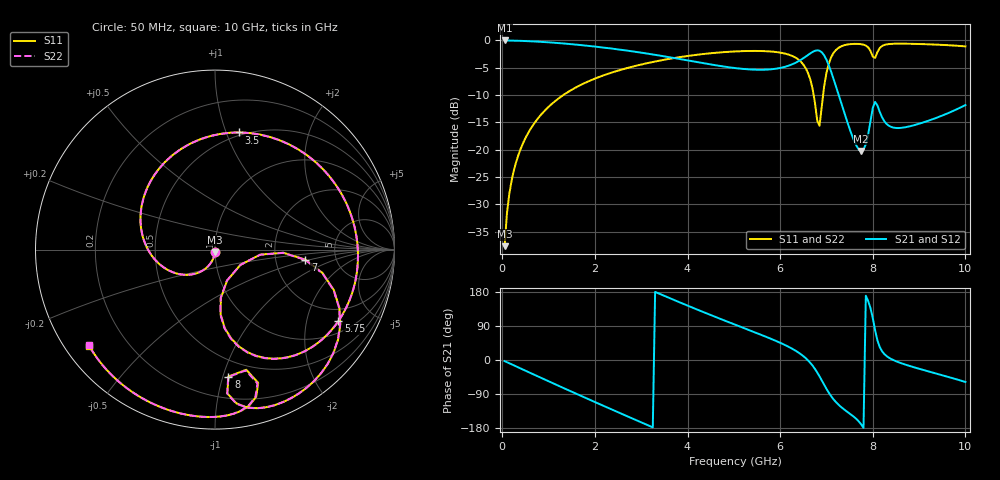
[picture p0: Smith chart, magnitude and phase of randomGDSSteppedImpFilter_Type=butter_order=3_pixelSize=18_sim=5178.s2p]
! freq	dB(S11)	phase(S11)	dB(S12)	phase(S12)
!  dB(S21)	phase(S21)	dB(S22)	phase(S22)
!S-par simulation data
#  GHz  S  DB  R 50
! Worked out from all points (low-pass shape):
!   200 points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, 50 MHz to 10 GHz, reference 50 ohm
!   highest |S21| = 0.00 dB at 50 MHz (marker M1); lowest = -20.2 dB at 7.75 GHz (marker M2)
!   |S21| within 3 dB of the highest: start of sweep to 3.562 GHz; 6.544 GHz to 6.967 GHz (422.4 MHz wide, 6.25 % of centre)
!   lowest |S11| = -37.7 dB at 50 MHz (marker M3), VSWR 1.03, Z = 49.9 - j1.31 ohm
!   |S11| at or under -10 dB: start of sweep to 1.317 GHz; 6.723 GHz to 6.927 GHz (203.8 MHz wide, 2.99 % of centre)
!   |S22| runs from -37.7 to -0.6 dB; largest |S21 - S12| = 0
!   S11 on the Smith chart (normalised r, x): 50 MHz: 1.00, -0.03; 3.5 GHz: 0.47, +1.11; 5.75 GHz: 1.44, -3.11; 7 GHz: 2.97, -0.44; 8 GHz: 0.36, -1.04; 10 GHz: 0.07, -0.34
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0.05  -37.66 -92.5  -0.00 -2.9  -0.00 -2.9  -37.66 -92.5
0.2  -25.71 -101.5  -0.03 -11.4  -0.03 -11.4  -25.71 -101.5
0.5  -17.88 -118.7  -0.11 -28.3  -0.11 -28.3  -17.88 -118.8
1.15  -11.05 -155.2  -0.44 -64.5  -0.44 -64.5  -11.05 -155.3
1.75  -7.91 171.9  -0.90 -97.4  -0.90 -97.4  -7.92 171.7
2.6  -5.28 126.0  -1.75 -143.2  -1.75 -143.2  -5.28 125.8
3.4  -3.69 83.7  -2.77 174.4  -2.77 174.4  -3.69 83.5
3.5  -3.53 78.5  -2.92 169.2  -2.92 169.2  -3.53 78.3
4.25  -2.57 40.6  -4.03 131.0  -4.03 131.0  -2.57 40.3
5.05  -2.00 2.4  -5.08 92.2  -5.08 92.2  -2.00 2.1
5.75  -2.00 -30.0  -5.32 58.5  -5.32 58.5  -2.00 -30.3
6.35  -3.24 -61.9  -4.02 23.3  -4.02 23.3  -3.24 -62.2
6.7  -8.83 -85.0  -2.11 -14.8  -2.11 -14.8  -8.83 -85.3
6.85  -15.63 -31.0  -1.88 -43.1  -1.88 -43.1  -15.66 -31.2
7  -5.92 -6.3  -3.53 -76.1  -3.53 -76.1  -5.93 -6.4
7.25  -1.42 -36.1  -9.62 -116.7  -9.62 -116.7  -1.42 -36.3
7.75  -0.69 -72.0  -20.23 -170.0  -20.23 -170.0  -0.69 -72.2
8  -2.96 -84.0  -12.37 110.9  -12.37 110.9  -2.93 -84.1
8.1  -2.15 -72.0  -11.89 51.8  -11.89 51.8  -2.13 -72.4
8.35  -0.66 -85.8  -15.63 6.0  -15.63 6.0  -0.66 -86.0
9.1  -0.68 -113.0  -14.98 -26.6  -14.98 -26.6  -0.68 -113.3
10  -1.09 -142.7  -11.83 -58.0  -11.83 -58.0  -1.09 -142.9
